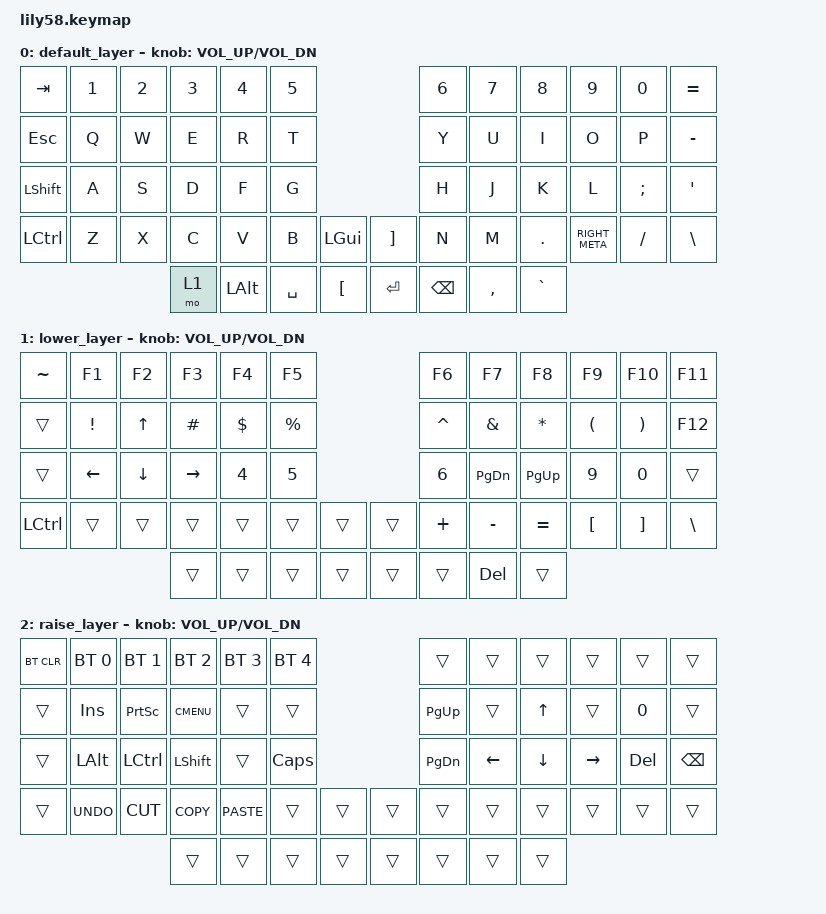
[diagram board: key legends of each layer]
/*
 * Lily58 Default Keymap for ZMK
 * 
 * This is a clean, standard QWERTY layout with:
 * - Layer 0: Default QWERTY
 * - Layer 1: Numbers, Symbols, F-keys (hold lower thumb key)
 * - Layer 2: Navigation, Bluetooth controls (hold raise thumb key)
 */

#include <behaviors.dtsi>
#include <dt-bindings/zmk/bt.h>
#include <dt-bindings/zmk/keys.h>

/ {
    keymap {
        compatible = "zmk,keymap";

        default_layer {
            // ------------------------------------------------------------------------------------------------------------
            // |  ESC  |  1  |  2  |  3   |  4   |  5   |                   |  6   |  7    |  8    |  9   |   0   |   `   |
            // |  TAB  |  Q  |  W  |  E   |  R   |  T   |                   |  Y   |  U    |  I    |  O   |   P   |   -   |
            // | CTRL  |  A  |  S  |  D   |  F   |  G   |                   |  H   |  J    |  K    |  L   |   ;   |   '   |
            // | SHIFT |  Z  |  X  |  C   |  V   |  B   |   "["  |  |  "]"  |  N   |  M    |  ,    |  .   |   /   | SHIFT |
            //                     | ALT  | GUI  | LOWER|  SPACE |  | ENTER | RAISE| BSPC  | GUI   |

            bindings = <
&kp TAB           &kp N1  &kp N2  &kp N3  &kp N4        &kp N5                                    &kp N6         &kp N7     &kp N8      &kp N9          &kp N0    &kp EQUAL
&kp ESCAPE        &kp Q   &kp W   &kp E   &kp R         &kp T                                     &kp Y          &kp U      &kp I       &kp O           &kp P     &kp MINUS
&kp LEFT_SHIFT    &kp A   &kp S   &kp D   &kp F         &kp G                                     &kp H          &kp J      &kp K       &kp L           &kp SEMI  &kp SQT
&kp LEFT_CONTROL  &kp Z   &kp X   &kp C   &kp V         &kp B      &kp LEFT_GUI        &kp RBKT   &kp N          &kp M      &kp PERIOD  &kp RIGHT_META  &kp FSLH  &kp BACKSLASH
                                  &mo 1   &kp LEFT_ALT  &kp SPACE  &kp LEFT_BRACKET    &kp ENTER  &kp BACKSPACE  &kp COMMA  &kp GRAVE
            >;

            sensor-bindings = <&inc_dec_kp C_VOL_UP C_VOL_DN>;
        };

        lower_layer {
            // ------------------------------------------------------------------------------------------------------------
            // |   ~   |  F1 |  F2 |  F3  |  F4  |  F5  |                   |  F6  |  F7   |  F8   |  F9  |  F10  |  F11  |
            // |       |  !  |  @  |  #   |  $   |  %   |                   |  ^   |  &    |  *    |  (   |   )   |  F12  |
            // |       |  1  |  2  |  3   |  4   |  5   |                   |  6   |  7    |  8    |  9   |   0   |       |
            // |       |     |     |      |      |      |        |  |       |  +   |  -    |  =    |  [   |   ]   |   \   |
            //                     |      |      |      |        |  |       |      |       |       |

            bindings = <
&kp TILDE         &kp F1          &kp F2          &kp F3     &kp F4    &kp F5                       &kp F6     &kp F7         &kp F8       &kp F9    &kp F10   &kp F11
&trans            &kp EXCL        &kp UP_ARROW    &kp HASH   &kp DLLR  &kp PRCNT                    &kp CARET  &kp AMPS       &kp STAR     &kp LPAR  &kp RPAR  &kp F12
&trans            &kp LEFT_ARROW  &kp DOWN_ARROW  &kp RIGHT  &kp N4    &kp N5                       &kp N6     &kp PAGE_DOWN  &kp PAGE_UP  &kp N9    &kp N0    &trans
&kp LEFT_CONTROL  &trans          &trans          &trans     &trans    &trans     &trans    &trans  &kp PLUS   &kp MINUS      &kp EQUAL    &kp LBKT  &kp RBKT  &kp BSLH
                                                  &trans     &trans    &trans     &trans    &trans  &trans     &kp DEL        &trans
            >;

            sensor-bindings = <&inc_dec_kp C_VOL_UP C_VOL_DN>;
        };

        raise_layer {
            // ------------------------------------------------------------------------------------------------------------
            // | BTCLR | BT1 | BT2 |  BT3 |  BT4 |  BT5 |                   |      |       |       |      |       |       |
            // |       | INS | PSCR| GUI  |      |      |                   | PGUP |       |   ^   |      |       |       |
            // |       | ALT | CTRL| SHIFT|      | CAPS |                   | PGDN |   <-  |   v   |  ->  |  DEL  | BSPC  |
            // |       | UNDO| CUT | COPY | PASTE|      |      |  |       |      |       |       |      |       |       |
            //                     |      |      |      |      |  |       |      |       |       |

            bindings = <
&bt BT_CLR  &bt BT_SEL 0  &bt BT_SEL 1  &bt BT_SEL 2  &bt BT_SEL 3  &bt BT_SEL 4                    &trans     &trans    &trans    &trans     &trans   &trans
&trans      &kp INS       &kp PSCRN     &kp K_CMENU   &trans        &trans                          &kp PG_UP  &trans    &kp UP    &trans     &kp N0   &trans
&trans      &kp LALT      &kp LCTRL     &kp LSHFT     &trans        &kp CLCK                        &kp PG_DN  &kp LEFT  &kp DOWN  &kp RIGHT  &kp DEL  &kp BSPC
&trans      &kp K_UNDO    &kp K_CUT     &kp K_COPY    &kp K_PASTE   &trans        &trans    &trans  &trans     &trans    &trans    &trans     &trans   &trans
                                        &trans        &trans        &trans        &trans    &trans  &trans     &trans    &trans
            >;

            sensor-bindings = <&inc_dec_kp C_VOL_UP C_VOL_DN>;
        };
    };
};
